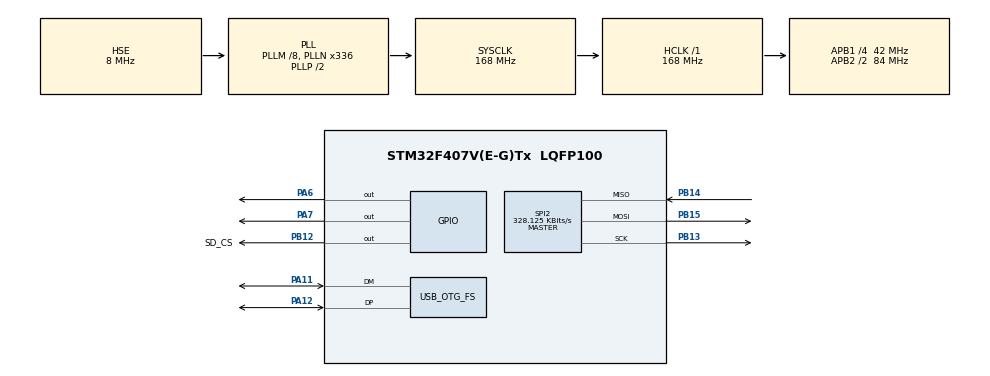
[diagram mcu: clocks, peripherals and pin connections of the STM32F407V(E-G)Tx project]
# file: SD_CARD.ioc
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Mcu.Family=STM32F4
Mcu.Name=STM32F407V(E-G)Tx
Mcu.Package=LQFP100
NVIC.OTG_FS_IRQn=true\:0\:0\:false\:false\:true\:false\:true\:true
NVIC.PriorityGroup=NVIC_PRIORITYGROUP_4
PA11.Mode=Device_Only
PA11.Signal=USB_OTG_FS_DM
PA12.Mode=Device_Only
PA12.Signal=USB_OTG_FS_DP
PA6.PinState=GPIO_PIN_SET
PA6.Signal=GPIO_Output
PA7.PinState=GPIO_PIN_SET
PA7.Signal=GPIO_Output
PB12.GPIO_Label=SD_CS
PB12.PinState=GPIO_PIN_SET
PB12.Signal=GPIO_Output
PB13.Mode=Full_Duplex_Master
PB13.Signal=SPI2_SCK
PB14.Mode=Full_Duplex_Master
PB14.Signal=SPI2_MISO
PB15.Mode=Full_Duplex_Master
PB15.Signal=SPI2_MOSI
PH0-OSC_IN.Mode=HSE-External-Oscillator
PH0-OSC_IN.Signal=RCC_OSC_IN
PH1-OSC_OUT.Mode=HSE-External-Oscillator
PH1-OSC_OUT.Signal=RCC_OSC_OUT
ProjectManager.HeapSize=0x200
ProjectManager.StackSize=0x400
ProjectManager.TargetToolchain=STM32CubeIDE
RCC.48MHZClocksFreq_Value=48000000
RCC.AHBFreq_Value=168000000
RCC.APB1CLKDivider=RCC_HCLK_DIV4
RCC.APB1Freq_Value=42000000
RCC.APB1TimFreq_Value=84000000
RCC.APB2CLKDivider=RCC_HCLK_DIV2
RCC.APB2Freq_Value=84000000
RCC.APB2TimFreq_Value=168000000
RCC.CortexFreq_Value=168000000
RCC.HCLKFreq_Value=168000000
RCC.HSE_VALUE=8000000
RCC.HSI_VALUE=16000000
RCC.LSE_VALUE=32768
RCC.PLLM=8
RCC.PLLN=336
RCC.PLLQ=7
RCC.SYSCLKFreq_VALUE=168000000
RCC.SYSCLKSource=RCC_SYSCLKSOURCE_PLLCLK
RCC.VCOOutputFreq_Value=336000000
SPI2.BaudRatePrescaler=SPI_BAUDRATEPRESCALER_128
SPI2.CalculateBaudRate=328.125 KBits/s
SPI2.Direction=SPI_DIRECTION_2LINES
SPI2.Mode=SPI_MODE_MASTER
SPI2.VirtualType=VM_MASTER
USB_DEVICE.CLASS_NAME_FS=CDC
USB_DEVICE.VirtualMode-CDC_FS=Cdc
USB_DEVICE.VirtualModeFS=Cdc_FS
USB_OTG_FS.VirtualMode=Device_Only
VP_FATFS_VS_Generic.Mode=User_defined
VP_USB_DEVICE_VS_USB_DEVICE_CDC_FS.Mode=CDC_FS
board=custom

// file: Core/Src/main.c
/* USER CODE BEGIN Header */
/**
  ******************************************************************************
  * @file           : main.c
  * @brief          : Main program body
  ******************************************************************************
  * @attention
  *
  * Copyright (c) 2026 STMicroelectronics.
  * All rights reserved.
  *
  * This software is licensed under terms that can be found in the LICENSE file
  * in the root directory of this software component.
  * If no LICENSE file comes with this software, it is provided AS-IS.
  *
  ******************************************************************************
  */
/* USER CODE END Header */
#include "main.h"
#include "fatfs.h"
#include "usb_device.h"

/* USER CODE BEGIN Includes */
#include "usbd_cdc_if.h"
#include <string.h>
#include<stdio.h>
/* USER CODE END Includes */

SPI_HandleTypeDef hspi2;

/* USER CODE BEGIN PV */
uint8_t dbg_rt = 0xFF, dbg_token = 0xFF;
uint8_t sector[512];
/* USER CODE END PV */

void SystemClock_Config(void);
static void MX_GPIO_Init(void);
static void MX_SPI2_Init(void);

/* USER CODE BEGIN 0 */
#define SD_CS_LOW()   HAL_GPIO_WritePin(SD_CS_GPIO_Port, SD_CS_Pin, GPIO_PIN_RESET)
#define SD_CS_HIGH()  HAL_GPIO_WritePin(SD_CS_GPIO_Port, SD_CS_Pin, GPIO_PIN_SET)

// 送出 1 byte，同時收回 1 byte
static uint8_t spi_xchg(uint8_t tx)
{
    uint8_t rx;
    HAL_SPI_TransmitReceive(&hspi2, &tx, &rx, 1, 100);
    return rx;
}
static uint8_t sd_send_cmd(uint8_t cmd, uint32_t arg, uint8_t crc)
{
	spi_xchg(0x40|cmd); //指令編號
	spi_xchg((uint8_t)(arg>>24)); //參數最高的8位
	spi_xchg((uint8_t)(arg>>16));
	spi_xchg((uint8_t)(arg>> 8));
	spi_xchg((uint8_t)(arg));//參數最低的8位
	spi_xchg(crc); //檢查碼

	for(int i=0;i<10;i++){
		uint8_t r =spi_xchg(0xFF);//最左邊是0
		if((r&0x80)==0)return r;
	}
	return 0xFF; //10次都沒回答，回傳0xFF表示失敗
}

// 叫醒並初始化 SD 卡。成功回傳 0；失敗回傳 1~4，代表卡在第幾步
static int sd_init(void)
{
    uint8_t r, buf[4];

    SD_CS_HIGH();
    for (int i = 0; i < 10; i++) spi_xchg(0xFF);      // 搖醒

    HAL_Delay(10);                                    // 等卡的電源穩定
    for (int t = 0; t < 10; t++) {                    // CMD0：最多試 10 次
        SD_CS_LOW();
        r = sd_send_cmd(0, 0, 0x95);
        SD_CS_HIGH(); spi_xchg(0xFF);
        if (r == 0x01) break;
    }
    if (r != 0x01) return 1;

    SD_CS_LOW();                                      // CMD8：新型卡嗎？
    r = sd_send_cmd(8, 0x1AA, 0x87);
    for (int i = 0; i < 4; i++) buf[i] = spi_xchg(0xFF);
    SD_CS_HIGH(); spi_xchg(0xFF);
    if (r != 0x01 || buf[2] != 0x01 || buf[3] != 0xAA) return 2;

    for (int i = 0; i < 1000; i++) {                  // ACMD41：準備好了沒？
        SD_CS_LOW(); sd_send_cmd(55, 0, 0x01); SD_CS_HIGH(); spi_xchg(0xFF);
        SD_CS_LOW(); r = sd_send_cmd(41, 0x40000000, 0x01); SD_CS_HIGH(); spi_xchg(0xFF);
        if (r == 0x00) break;
        HAL_Delay(1);
    }
    if (r != 0x00) return 3;

    SD_CS_LOW();                                      // CMD58：大容量卡嗎？
    sd_send_cmd(58, 0, 0x01);
    for (int i = 0; i < 4; i++) buf[i] = spi_xchg(0xFF);
    SD_CS_HIGH(); spi_xchg(0xFF);
    if ((buf[0] & 0x40) == 0) return 4;

    return 0;                                         // 全部成功
}

// 讀第 n 頁，放進 dst 指向的 512 格陣列。成功回傳 0，失敗回傳 1
static int sd_read_sector(uint32_t n, uint8_t *dst)
{
    uint8_t token = 0xFF;
    SD_CS_LOW();
    if (sd_send_cmd(17, n, 0x01) == 0x00) {
        for (int i = 0; i < 2000; i++) {              // 等公車
            token = spi_xchg(0xFF);
            if (token == 0xFE) break;
        }
        if (token == 0xFE) {                          // 上車收資料
            for (int i = 0; i < 512; i++) dst[i] = spi_xchg(0xFF);
            spi_xchg(0xFF); spi_xchg(0xFF);           // 檢查碼丟掉
        }
    }
    SD_CS_HIGH(); spi_xchg(0xFF);
    return (token == 0xFE) ? 0 : 1;
}

// 把 src 指向的 512 個位元組寫到第 n 頁。成功回傳 0，失敗回傳 1
static int sd_write_sector(uint32_t n, const uint8_t *src)
{
    int ok = 0;
    SD_CS_LOW();
    if (sd_send_cmd(24, n, 0x01) == 0x00) {
        // ① 送一個 0xFF，再送 0xFE
        spi_xchg(0xFF);
	spi_xchg(0xFE);

 	// ② 用迴圈送 512 個位元組：src[i]
        for(int i=0;i<512;i++){
		spi_xchg(src[i]);
	}
	// ③ 送兩個 0xFF（檢查碼）
        spi_xchg(0xFF);
	spi_xchg(0xFF);

	// ④ 收回應位元組：resp = spi_xchg(0xFF)
	uint8_t resp = spi_xchg(0xFF);

	// ⑤ 如果 (resp & 0x1F) == 0x05：
        //      用迴圈一直收，直到收到 0xFF（最多 100000 次）
        //      收到 0xFF 就把 ok 設成 1
	if((resp & 0x1F) == 0x05){
		for(int i=0;i<100000;i++){
			if(spi_xchg(0xFF)== 0xFF){
				ok=1;
				break;
				}
			}
		}
    }
    SD_CS_HIGH(); spi_xchg(0xFF);
    return ok ? 0 : 1;
}
/* USER CODE END 0 */

int main(void)
{

  /* MCU Configuration--------------------------------------------------------*/

  /* Reset of all peripherals, Initializes the Flash interface and the Systick. */
  HAL_Init();

  /* Configure the system clock */
  SystemClock_Config();

  /* Initialize all configured peripherals */
  MX_GPIO_Init();
  MX_SPI2_Init();
  MX_FATFS_Init();
  MX_USB_DEVICE_Init();
  /* USER CODE BEGIN 2 */
  int init_result = sd_init();

  memset(sector, 0, 512);
  strcpy((char*)sector, "Hello SD card from STM32!");
  int write_result = sd_write_sector(20000, sector);

  memset(sector, 0, 512);
  int read_result = sd_read_sector(20000, sector);   // 讀第 0 頁（答案已知，方便驗證）
  /* USER CODE END 2 */

  /* Infinite loop */
  while (1)
  {

    /* USER CODE BEGIN 3 */
    HAL_Delay(2000);
    char line[64];

    // 先印出 rt 和 token
    int m = snprintf(line, sizeof(line), "init=%d write=%d read=%d\r\n", init_result, write_result, read_result);
    CDC_Transmit_FS((uint8_t*)line, m);
    HAL_Delay(5);

    // 再印 hex dump
    for (int row = 0; row < 32; row++) {
        int n = snprintf(line, sizeof(line), "%03X: ", row * 16);
        for (int col = 0; col < 16; col++) {
            n += snprintf(line + n, sizeof(line) - n, "%02X ", sector[row * 16 + col]);
        }
        n += snprintf(line + n, sizeof(line) - n, "\r\n");
        CDC_Transmit_FS((uint8_t*)line, n);
        HAL_Delay(5);
    }
  }
  /* USER CODE END 3 */
}

void SystemClock_Config(void)
{
  RCC_OscInitTypeDef RCC_OscInitStruct = {0};
  RCC_ClkInitTypeDef RCC_ClkInitStruct = {0};

  /** Configure the main internal regulator output voltage
  */
  __HAL_RCC_PWR_CLK_ENABLE();
  __HAL_PWR_VOLTAGESCALING_CONFIG(PWR_REGULATOR_VOLTAGE_SCALE1);

  /** Initializes the RCC Oscillators according to the specified parameters
  * in the RCC_OscInitTypeDef structure.
  */
  RCC_OscInitStruct.OscillatorType = RCC_OSCILLATORTYPE_HSE;
  RCC_OscInitStruct.HSEState = RCC_HSE_ON;
  RCC_OscInitStruct.PLL.PLLState = RCC_PLL_ON;
  RCC_OscInitStruct.PLL.PLLSource = RCC_PLLSOURCE_HSE;
  RCC_OscInitStruct.PLL.PLLM = 8;
  RCC_OscInitStruct.PLL.PLLN = 336;
  RCC_OscInitStruct.PLL.PLLP = RCC_PLLP_DIV2;
  RCC_OscInitStruct.PLL.PLLQ = 7;
  if (HAL_RCC_OscConfig(&RCC_OscInitStruct) != HAL_OK)
  {
    Error_Handler();
  }

  /** Initializes the CPU, AHB and APB buses clocks
  */
  RCC_ClkInitStruct.ClockType = RCC_CLOCKTYPE_HCLK|RCC_CLOCKTYPE_SYSCLK
                              |RCC_CLOCKTYPE_PCLK1|RCC_CLOCKTYPE_PCLK2;
  RCC_ClkInitStruct.SYSCLKSource = RCC_SYSCLKSOURCE_PLLCLK;
  RCC_ClkInitStruct.AHBCLKDivider = RCC_SYSCLK_DIV1;
  RCC_ClkInitStruct.APB1CLKDivider = RCC_HCLK_DIV4;
  RCC_ClkInitStruct.APB2CLKDivider = RCC_HCLK_DIV2;

  if (HAL_RCC_ClockConfig(&RCC_ClkInitStruct, FLASH_LATENCY_5) != HAL_OK)
  {
    Error_Handler();
  }
}

static void MX_SPI2_Init(void)
{

  /* SPI2 parameter configuration*/
  hspi2.Instance = SPI2;
  hspi2.Init.Mode = SPI_MODE_MASTER;
  hspi2.Init.Direction = SPI_DIRECTION_2LINES;
  hspi2.Init.DataSize = SPI_DATASIZE_8BIT;
  hspi2.Init.CLKPolarity = SPI_POLARITY_LOW;
  hspi2.Init.CLKPhase = SPI_PHASE_1EDGE;
  hspi2.Init.NSS = SPI_NSS_SOFT;
  hspi2.Init.BaudRatePrescaler = SPI_BAUDRATEPRESCALER_128;
  hspi2.Init.FirstBit = SPI_FIRSTBIT_MSB;
  hspi2.Init.TIMode = SPI_TIMODE_DISABLE;
  hspi2.Init.CRCCalculation = SPI_CRCCALCULATION_DISABLE;
  hspi2.Init.CRCPolynomial = 10;
  if (HAL_SPI_Init(&hspi2) != HAL_OK)
  {
    Error_Handler();
  }

}

static void MX_GPIO_Init(void)
{
  GPIO_InitTypeDef GPIO_InitStruct = {0};

  /* GPIO Ports Clock Enable */
  __HAL_RCC_GPIOH_CLK_ENABLE();
  __HAL_RCC_GPIOA_CLK_ENABLE();
  __HAL_RCC_GPIOB_CLK_ENABLE();

  /*Configure GPIO pin Output Level */
  HAL_GPIO_WritePin(GPIOA, GPIO_PIN_6|GPIO_PIN_7, GPIO_PIN_SET);

  /*Configure GPIO pin Output Level */
  HAL_GPIO_WritePin(SD_CS_GPIO_Port, SD_CS_Pin, GPIO_PIN_SET);

  /*Configure GPIO pins : PA6 PA7 */
  GPIO_InitStruct.Pin = GPIO_PIN_6|GPIO_PIN_7;
  GPIO_InitStruct.Mode = GPIO_MODE_OUTPUT_PP;
  GPIO_InitStruct.Pull = GPIO_NOPULL;
  GPIO_InitStruct.Speed = GPIO_SPEED_FREQ_LOW;
  HAL_GPIO_Init(GPIOA, &GPIO_InitStruct);

  /*Configure GPIO pin : SD_CS_Pin */
  GPIO_InitStruct.Pin = SD_CS_Pin;
  GPIO_InitStruct.Mode = GPIO_MODE_OUTPUT_PP;
  GPIO_InitStruct.Pull = GPIO_NOPULL;
  GPIO_InitStruct.Speed = GPIO_SPEED_FREQ_LOW;
  HAL_GPIO_Init(SD_CS_GPIO_Port, &GPIO_InitStruct);

}

void Error_Handler(void)
{
  __disable_irq();
  while (1)
  {
  }
}
